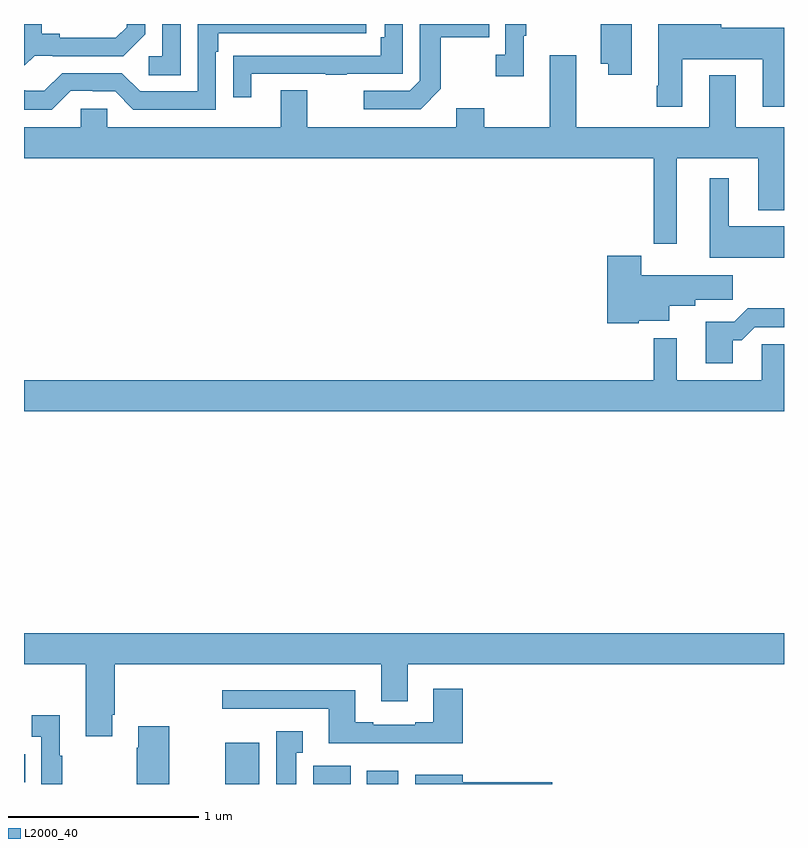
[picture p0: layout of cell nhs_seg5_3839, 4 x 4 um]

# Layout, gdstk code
import gdstk
lib = gdstk.Library(unit=1e-6, precision=1e-09)
def R(c, l, rs):  # rectangles x0, y0, x1, y1
    for r in rs: c.add(gdstk.rectangle(r[:2], r[2:], *l))
def P(c, l, *ps):  # polygons
    for p in ps: c.add(gdstk.Polygon(p, *l))
L2000_40 = (2000, 40)

nhs_seg5_3839 = lib.new_cell('nhs_seg5_3839')
R(nhs_seg5_3839, L2000_40, [(338.06,854.799,338.239,855.016), (338.522,854.799,338.719,854.896), (338.804,854.799,338.971,854.869), (337,854.807,337.007,854.955)])
P(nhs_seg5_3839, L2000_40, [(339.193,858.457),(339.193,858.73),(339.449,858.73),(339.449,858.799),(339.084,858.799),(339.084,858.501),(339.03,858.447),(338.787,858.447),(338.787,858.351),(339.087,858.351)],
  [(340.465,858.614),(340.889,858.614),(340.889,858.363),(341,858.363),(341,858.778),(340.669,858.778),(340.669,858.799),(340.337,858.799),(340.337,858.475),(340.33,858.475),(340.33,858.363),(340.465,858.363)],
  [(339.631,858.737),(339.643,858.737),(339.643,858.799),(339.534,858.799),(339.534,858.638),(339.483,858.638),(339.483,858.525),(339.631,858.525)],
  [(340.198,858.799),(340.036,858.799),(340.036,858.59),(340.076,858.59),(340.076,858.531),(340.198,858.531)],
  [(337.056,858.633),(337.15,858.633),(337.15,858.63),(337.522,858.63),(337.638,858.746),(337.638,858.799),(337.541,858.799),(337.541,858.783),(337.484,858.726),(337.189,858.726),(337.189,858.749),(337.093,858.749),(337.093,858.799),(337,858.799),(337,858.581),(337.004,858.581)],
  [(338.197,858.537),(338.587,858.537),(338.587,858.532),(338.699,858.532),(338.699,858.537),(338.994,858.537),(338.994,858.799),(338.898,858.799),(338.898,858.73),(338.878,858.73),(338.878,858.633),(338.203,858.633),(338.203,858.632),(338.101,858.632),(338.101,858.414),(338.197,858.414)],
  [(337.245,858.447),(337.361,858.447),(337.361,858.444),(337.479,858.444),(337.575,858.348),(338.01,858.348),(338.01,858.653),(338.023,858.653),(338.023,858.75),(338.8,858.75),(338.8,858.799),(337.914,858.799),(337.914,858.444),(337.611,858.444),(337.515,858.54),(337.2,858.54),(337.107,858.447),(337.007,858.447),(337.007,858.451),(337,858.451),(337,858.347),(337.145,858.347)],
  [(337.824,858.799),(337.728,858.799),(337.728,858.63),(337.656,858.63),(337.656,858.529),(337.824,858.529)],
  [(340.435,858.092),(340.865,858.092),(340.865,857.819),(341,857.819),(341,858.256),(340.747,858.256),(340.747,858.529),(340.607,858.529),(340.607,858.256),(339.907,858.256),(339.907,858.634),(339.767,858.634),(339.767,858.256),(339.423,858.256),(339.423,858.355),(339.275,858.355),(339.275,858.256),(338.491,858.256),(338.491,858.451),(338.351,858.451),(338.351,858.256),(337.437,858.256),(337.437,858.354),(337.299,858.354),(337.299,858.256),(337,858.256),(337,858.092),(340.314,858.092),(340.314,857.643),(340.435,857.643)],
  [(341,857.734),(340.708,857.734),(340.708,857.986),(340.61,857.986),(340.61,857.57),(341,857.57)],
  [(340.236,857.237),(340.396,857.237),(340.396,857.315),(340.534,857.315),(340.534,857.347),(340.729,857.347),(340.729,857.476),(340.248,857.476),(340.248,857.578),(340.07,857.578),(340.07,857.225),(340.236,857.225)],
  [(340.729,857.135),(340.778,857.135),(340.845,857.202),(341,857.202),(341,857.303),(340.808,857.303),(340.738,857.233),(340.589,857.233),(340.589,857.013),(340.729,857.013)],
  [(341,857.114),(340.884,857.114),(340.884,856.924),(340.435,856.924),(340.435,857.146),(340.314,857.146),(340.314,856.924),(337,856.924),(337,856.76),(341,856.76)],
  [(337.465,855.163),(337.478,855.163),(337.478,855.428),(338.879,855.428),(338.879,855.234),(339.019,855.234),(339.019,855.428),(341,855.428),(341,855.592),(337,855.592),(337,855.428),(337.325,855.428),(337.325,855.051),(337.465,855.051)],
  [(339.308,855.301),(339.155,855.301),(339.155,855.124),(339.059,855.124),(339.059,855.111),(338.839,855.111),(338.839,855.124),(338.743,855.124),(338.743,855.292),(338.043,855.292),(338.043,855.195),(338.603,855.195),(338.603,855.014),(339.308,855.014)],
  [(337.201,854.947),(337.189,854.947),(337.189,855.16),(337.041,855.16),(337.041,855.047),(337.092,855.047),(337.092,854.799),(337.201,854.799)],
  [(337.764,855.103),(337.601,855.103),(337.601,854.99),(337.594,854.99),(337.594,854.799),(337.764,854.799)],
  [(338.434,854.963),(338.467,854.963),(338.467,855.076),(338.327,855.076),(338.327,854.799),(338.434,854.799)],
  [(339.781,854.807),(339.31,854.807),(339.31,854.848),(339.059,854.848),(339.059,854.799),(339.781,854.799)])

lib.write_gds('nhs_seg5_3839.gds')
